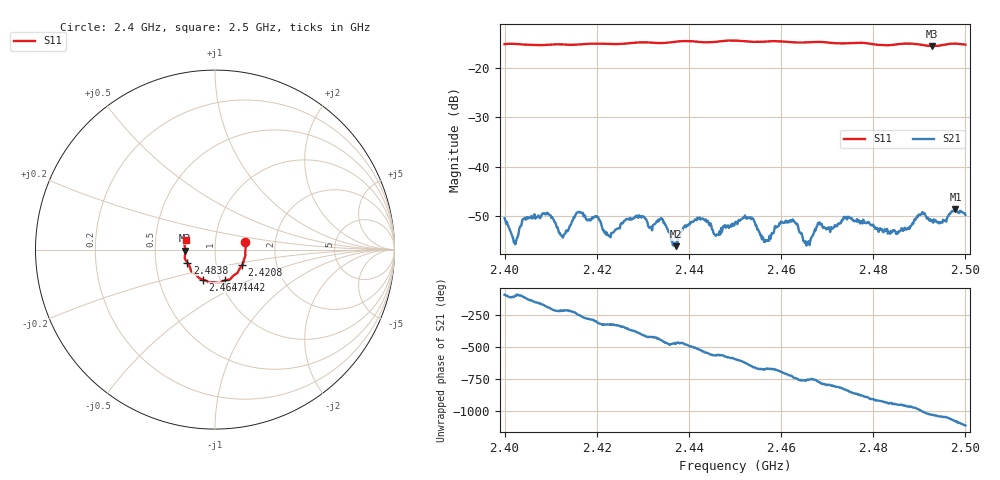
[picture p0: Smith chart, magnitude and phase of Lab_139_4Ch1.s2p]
# Hz S RI R 50
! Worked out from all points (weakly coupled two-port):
!   601 points, 2.4 GHz to 2.5 GHz, reference 50 ohm
!   highest |S21| = -48.64 dB at 2.4978 GHz (marker M1); lowest = -56.1 dB at 2.4372 GHz (marker M2)
!   lowest |S11| = -15.6 dB at 2.4928 GHz (marker M3), VSWR 1.40, Z = 35.8 - j0.372 ohm
!   |S11| at or under -10 dB: start of sweep to end of sweep
!   S12 and S22 are empty: the file has one direction only
!   S11 on the Smith chart (normalised r, x): 2.4 GHz: 1.40, +0.12; 2.4208 GHz: 1.33, -0.24; 2.4442 GHz: 1.05, -0.37; 2.4647 GHz: 0.83, -0.29; 2.4838 GHz: 0.73, -0.11; 2.5 GHz: 0.72, +0.08
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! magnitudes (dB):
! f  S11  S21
! 2.4 GHz  -15.2  -50.5
! 2.4023 GHz  -15.2  -55.8
! 2.4043 GHz  -15.3  -50.4
! 2.4095 GHz  -15.3  -49.7
! 2.4127 GHz  -15.3  -54.4
! 2.4167 GHz  -15.2  -49.4
! 2.4208 GHz  -15.1  -51.2
! 2.4333 GHz  -15.0  -50.8
! 2.4372 GHz  -14.7  -56.1
! 2.4442 GHz  -14.9  -51.1
! 2.45 GHz  -14.5  -51.4
! 2.4535 GHz  -14.7  -50.7
! 2.4568 GHz  -14.7  -55.0
! 2.4623 GHz  -14.8  -51.1
! 2.4647 GHz  -14.9  -54.4
! 2.4667 GHz  -14.8  -54.2
! 2.4742 GHz  -15.1  -50.2
! 2.4833 GHz  -15.5  -53.2
! 2.4838 GHz  -15.4  -53.1
! 2.4928 GHz  -15.6  -51.2
! 2.4978 GHz  -15.1  -48.6
! 2.5 GHz  -15.3  -49.8
